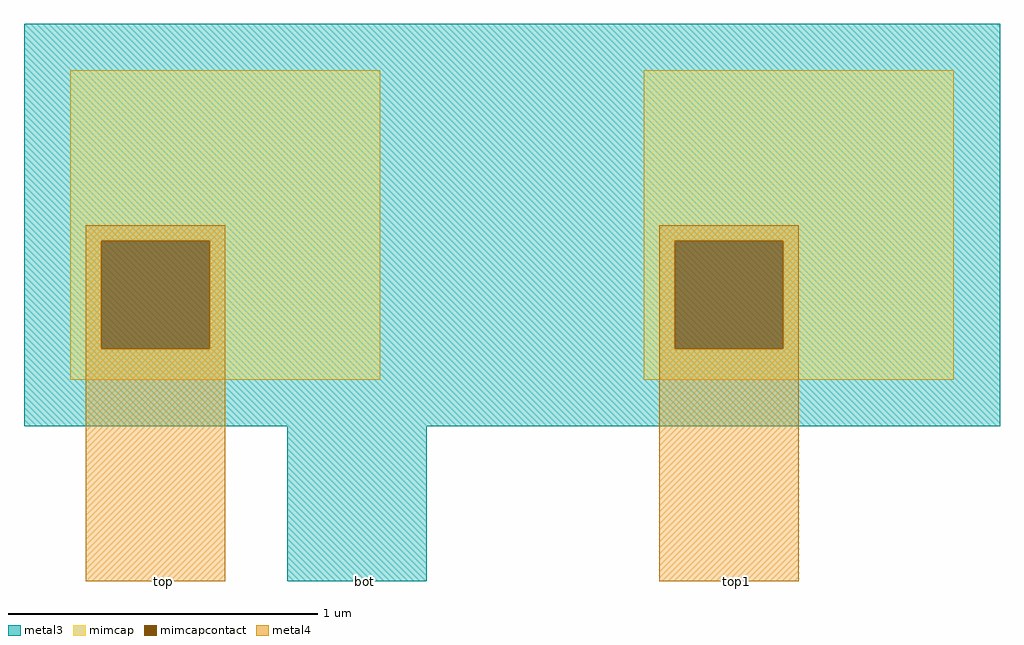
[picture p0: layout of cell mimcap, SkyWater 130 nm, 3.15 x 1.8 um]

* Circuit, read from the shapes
.subckt mimcap bot top top1
XC1 top bot sky130_fd_pr__cap_mim_m3_1 w=1 l=1
XC2 top1 bot sky130_fd_pr__cap_mim_m3_1 w=1 l=1
.ends

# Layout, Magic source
magic
tech sky130A
<< metal3 >>
rect -15 -15 300 115
rect 70 -65 115 -15
<< mimcap >>
rect 0 45 100 100
rect 0 10 10 45
rect 45 10 100 45
rect 0 0 100 10
rect 185 45 285 100
rect 185 10 195 45
rect 230 10 285 45
rect 185 0 285 10
<< mimcapcontact >>
rect 10 10 45 45
rect 195 10 230 45
<< metal4 >>
rect 5 45 50 50
rect 5 10 10 45
rect 45 10 50 45
rect 5 -65 50 10
rect 190 45 235 50
rect 190 10 195 45
rect 230 10 235 45
rect 190 -65 235 10
<< labels >>
flabel metal4 30 -65 30 -65 5 FreeSans 80 0 0 -40 top
flabel metal3 95 -65 95 -65 5 FreeSans 80 0 0 -40 bot
flabel metal4 215 -65 215 -65 5 FreeSans 80 0 0 -40 top1
<< end >>
